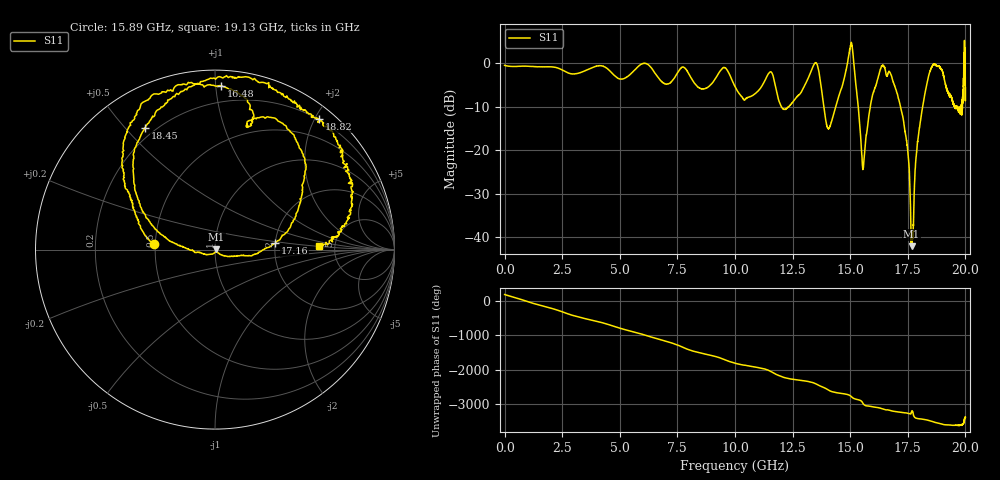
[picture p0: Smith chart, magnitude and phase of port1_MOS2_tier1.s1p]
! Created with skrf 1.8.0 (http://scikit-rf.org).
# GHz S RI R 50.0
!freq ReS11 ImS11
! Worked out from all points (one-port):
!   10001 points, 1 MHz to 20 GHz, reference 50 ohm
!   lowest |S11| = -42.1 dB at 17.66 GHz (marker M1), VSWR 1.02, Z = 50.8 + j0.131 ohm
!   |S11| at or under -10 dB: 13.85 GHz to 14.37 GHz (519.1 MHz wide, 3.68 % of centre); 15.35 GHz to 15.87 GHz (525.4 MHz wide, 3.37 % of centre); 17.18 GHz to 18.15 GHz (962.8 MHz wide, 5.45 % of centre) (the widest 3 of 18)
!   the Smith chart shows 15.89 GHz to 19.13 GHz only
!   S11 on the Smith chart (normalised r, x): 15.89 GHz: 0.49, +0.03; 16.48 GHz: 0.09, +1.03; 17.16 GHz: 2.01, +0.17; 18.45 GHz: 0.16, +0.57; 18.82 GHz: 0.19, +2.06; 19.13 GHz: 3.74, +0.22
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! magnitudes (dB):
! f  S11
! 1 MHz  -0.5
! 2.501 GHz  -1.6
! 5.001 GHz  -3.7
! 7.501 GHz  -2.3
! 8.629 GHz  -6.0
! 9.545 GHz  -1.1
! 10 GHz  -5.4
! 10.47 GHz  -8.1
! 11.54 GHz  -2.0
! 12.05 GHz  -10.3
! 12.5 GHz  -9.0
! 13.51 GHz  0.1
! 14.09 GHz  -14.9
! 15 GHz  3.5
! 15.14 GHz  1.2
! 15.55 GHz  -24.4
! 15.89 GHz  -9.3
! 16.48 GHz  -0.8
! 17.16 GHz  -9.4
! 17.5 GHz  -20.2
! 17.66 GHz  -42.1
! 17.73 GHz  -38.7
! 17.98 GHz  -16.0
! 18.45 GHz  -2.1
! 18.82 GHz  -0.6
! 19.13 GHz  -4.7
! 19.75 GHz  -11.2
! 20 GHz  -5.7
